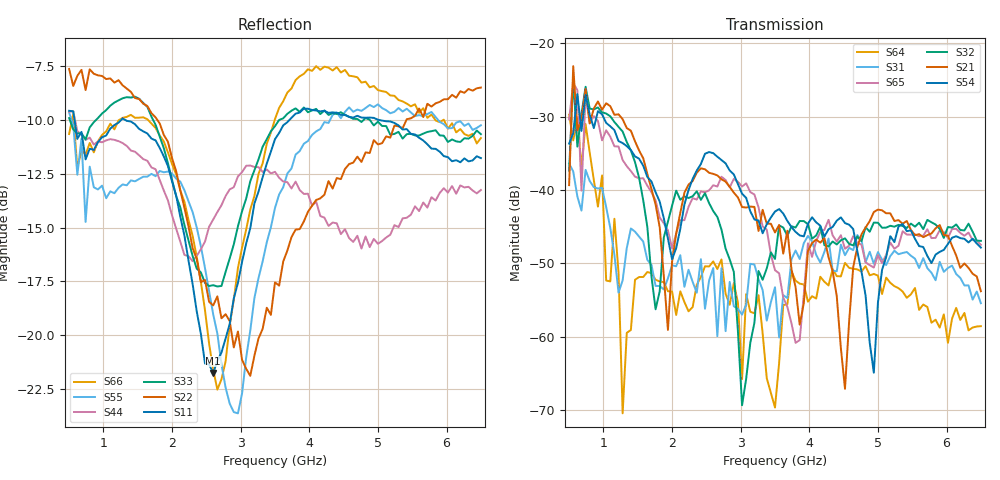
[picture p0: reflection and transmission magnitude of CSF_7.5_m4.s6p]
!Keysight Technologies,M9804A,MY58100912,A.14.10.03
!Date: Thursday, April 27, 2023 10:28:33
!Correction: S11(C  6-Port  )
!S12(C  6-Port  )
!S13(C  6-Port  )
!S14(C  6-Port  )
!S15(C  6-Port  )
!S16(C  6-Port  )
!S21(C  6-Port  )
!S22(C  6-Port  )
!S23(C  6-Port  )
!S24(C  6-Port  )
!S25(C  6-Port  )
!S26(C  6-Port  )
!S31(C  6-Port  )
!S32(C  6-Port  )
!S33(C  6-Port  )
!S34(C  6-Port  )
!S35(C  6-Port  )
!S36(C  6-Port  )
!S41(C  6-Port  )
!S42(C  6-Port  )
!S43(C  6-Port  )
!S44(C  6-Port  )
!S45(C  6-Port  )
!S46(C  6-Port  )
!S51(C  6-Port  )
!S52(C  6-Port  )
!S53(C  6-Port  )
!S54(C  6-Port  )
!S55(C  6-Port  )
!S56(C  6-Port  )
!S61(C  6-Port  )
!S62(C  6-Port  )
!S63(C  6-Port  )
!S64(C  6-Port  )
!S65(C  6-Port  )
!S66(C  6-Port  )
!S6P File: Measurement: :
# Hz S  RI  R 50
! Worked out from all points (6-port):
!   101 points, 500 MHz to 6.5 GHz, reference 50 ohm
!   strongest paths, dB at 500 MHz, 2 GHz, 3.5 GHz, 5 GHz, 6.5 GHz:
!     S54: -33.7, -49.4, -42.9, -55.4, -47.9
!     S21: -39.3, -49.8, -45.8, -42.7, -53.8
!     S32: -37.3, -42.1, -49.4, -44.5, -46.9
!     S65: -30.4, -48.0, -50.9, -48.9, -47.5
!     S31: -36.4, -50.3, -53.3, -48.5, -55.4
!     S64: -29.7, -53.8, -69.6, -51.7, -58.6
!   lowest |S11| = -21.7 dB at 2.6 GHz (marker M1), VSWR 1.18, Z = 42.7 + j2.09 ohm
!   |S11| at or under -10 dB: 578.6 MHz to 1.259 GHz (680.8 MHz wide, 74.1 % of centre); 1.315 GHz to 3.712 GHz (2.397 GHz wide, 95.3 % of centre); 5.009 GHz to end of sweep
